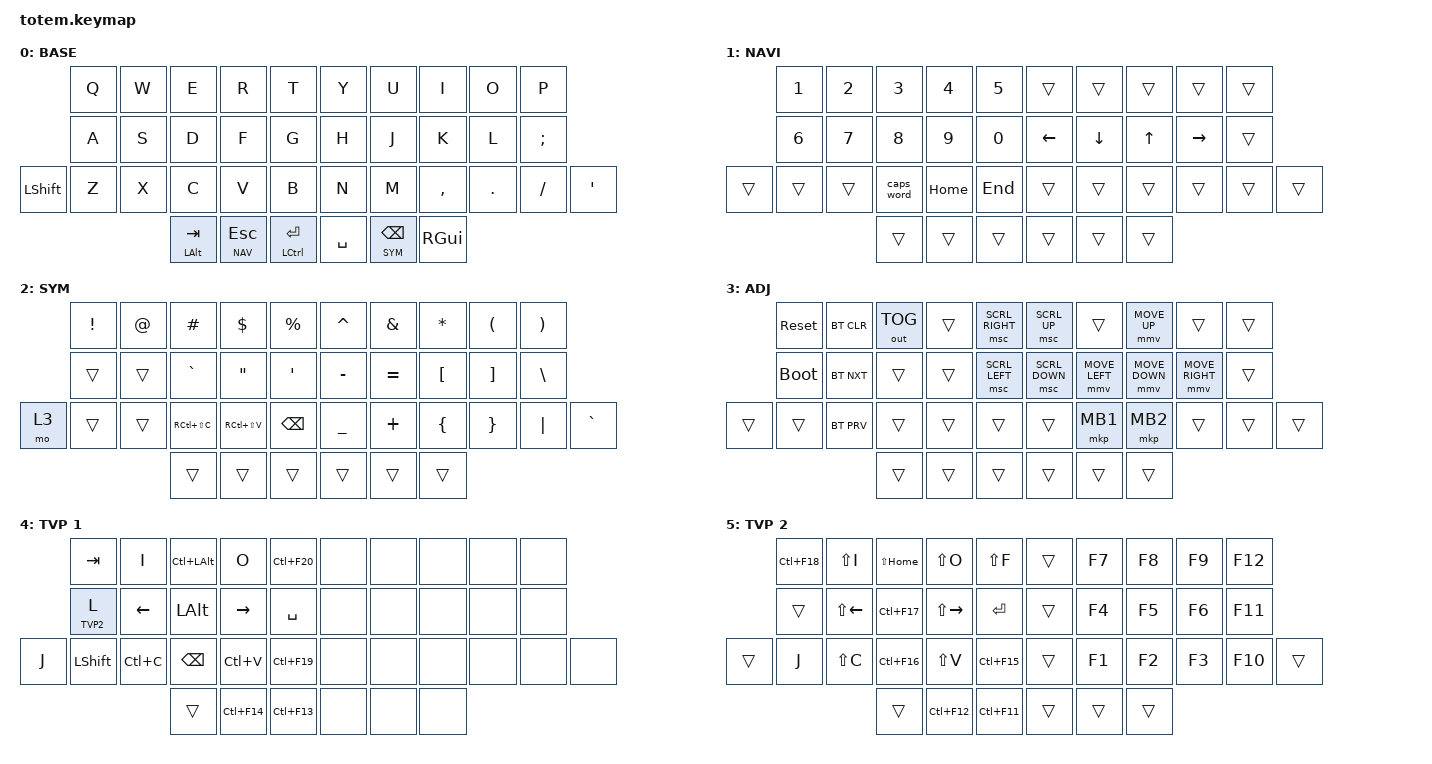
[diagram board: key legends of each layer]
//
//                                                        ▀▀▀▀▀     ▀▀▀▀▀          ▀▀█▀▀
//                                                        ▄▀▀▀▄  ▄  ▄▀▀▀▄  ▄  ▄▀▀▀▄  █  ▄▀▀▀▄
//                                                        █   █  █  █   █  █  █   █  █  █   █
//                                                         ▀▀▀   █   ▀▀▀   █   ▀▀▀   ▀   ▀▀▀
//                                                               █      ▄▄▄█▄▄▄    █   █  
//                                                               ▀      █  █  █     █▄█
//                                                             ▀▀▀▀▀    █  █  █      ▀
//                                                                      ▀  ▀  ▀
//
// ▄▄▄▄▄▄▄▄▄▄▄▄▄▄▄▄▄▄▄▄▄▄▄▄▄▄▄▄▄▄▄▄▄▄▄▄▄▄▄▄▄▄▄▄▄▄▄▄▄▄▄▄▄▄▄▄▄▄▄▄▄▄▄▄▄▄▄▄▄▄▄▄▄▄▄▄▄▄▄▄▄▄▄▄▄▄▄▄▄▄▄▄▄▄▄▄▄▄▄▄▄▄▄▄▄▄▄▄▄▄▄▄▄▄▄▄▄▄▄▄▄▄▄▄▄▄▄▄▄▄▄▄▄▄▄▄▄▄▄▄▄▄▄▄▄▄▄▄▄

#include <behaviors.dtsi>
#include <dt-bindings/zmk/bt.h>
#include <dt-bindings/zmk/keys.h>
#include <dt-bindings/zmk/outputs.h>
#include <dt-bindings/zmk/pointing.h>

#define BASE 0
#define NAV  1
#define SYM  2
#define ADJ  3
#define TVP1 4
#define TVP2 5

&mt {
    quick-tap-ms = <100>;
    global-quick-tap;
    flavor = "tap-preferred";
    tapping-term-ms = <170>;
};

/ {
    combos {
        compatible = "zmk,combos";

        esc {
            timeout-ms = <50>;
            key-positions = <17 16>;
            bindings = <&kp ESC>;
        };

        tab {
            timeout-ms = <100>;
            key-positions = <12 13>;
            bindings = <&kp TAB>;
        };

        enter {
            bindings = <&kp ENTER>;
            key-positions = <13 16>;
            timeout-ms = <100>;
        };

        togglelayer4 {
            bindings = <&tog 4>;
            key-positions = <2 3 4>;
        };

        togglelayer5 {
            bindings = <&tog 5>;
            key-positions = <6 5 7>;
        };

        movetolayer3 {
            bindings = <&mo 3>;
            key-positions = <33 36>;
            slow-release;
            layers = <3>;
        };
    };

    macros {
        gif: gif {
            label = "giphy";
            compatible = "zmk,behavior-macro";
            #binding-cells = <0>;
            bindings =
                <&macro_press>,
                <&kp LSHFT>,
                <&macro_tap>,
                <&kp N2>,
                <&macro_release>,
                <&kp LSHFT>,
                <&macro_tap>,
                <&kp G &kp I &kp F>;
        };
    };

    keymap {
        compatible = "zmk,keymap";

        // ▄▄▄▄▄▄▄▄▄▄▄▄▄▄▄▄▄▄▄▄▄▄▄▄▄▄▄▄▄▄▄▄▄▄▄▄▄▄▄▄▄▄▄▄▄▄▄▄▄▄▄▄▄▄▄▄▄▄▄▄▄▄▄▄▄▄▄▄▄▄▄▄▄▄▄▄▄▄▄▄▄▄▄▄▄▄▄▄▄▄▄▄▄▄▄▄▄▄▄▄▄▄▄▄▄▄▄▄▄▄▄▄▄▄▄▄▄▄▄▄▄▄▄▄▄▄▄▄▄▄▄▄▄▄▄▄▄▄▄▄▄▄▄▄▄▄▄▄▄

        base_layer {
            // ┏━━━━━━━━━━━━━━━━━━━━━━━━━━━━━━━━━━━━━━━┓

            label = "BASE";

            // ┗━━━━━━━━━━━━━━━━━━━━━━━━━━━━━━━━━━━━━━━┛
            //             ┏━━━━━━━━━━━┳━━━━━━━━━━━┳━━━━━━━━━━━┳━━━━━━━━━━━┳━━━━━━━━━━━┓   ┏━━━━━━━━━━━┳━━━━━━━━━━━┳━━━━━━━━━━━┳━━━━━━━━━━━┳━━━━━━━━━━━┓
            //             ┃     Q     ┃     W     ┃     F     ┃     P     ┃     G     ┃   ┃     J     ┃     L     ┃     U     ┃     Y     ┃     ;     ┃
            //             ┣━━━━━━━━━━━╋━━━━━━━━━━━╋━━━━━━━━━━━╋━━━━━━━━━━━╋━━━━━━━━━━━┫   ┣━━━━━━━━━━━╋━━━━━━━━━━━╋━━━━━━━━━━━╋━━━━━━━━━━━╋━━━━━━━━━━━┫
            //             ┃     A     ┃     R     ┃     S     ┃     T     ┃     D     ┃   ┃     H     ┃     N     ┃     E     ┃     I     ┃     O     ┃
            // ┏━━━━━━━━━━━╋━━━━━━━━━━━╋━━━━━━━━━━━╋━━━━━━━━━━━╋━━━━━━━━━━━╋━━━━━━━━━━━┫   ┣━━━━━━━━━━━╋━━━━━━━━━━━╋━━━━━━━━━━━╋━━━━━━━━━━━╋━━━━━━━━━━━╋━━━━━━━━━━━┓
            // ┃     Q     ┃     Z     ┃     X     ┃     C     ┃     V     ┃     B     ┃   ┃     K     ┃     M     ┃     ,     ┃     .     ┃     /     ┃     \     ┃
            // ┗━━━━━━━━━━━┻━━━━━━━━━━━┻━━━━━━━━━━━╋━━━━━━━━━━━╋━━━━━━━━━━━╋━━━━━━━━━━━┫   ┣━━━━━━━━━━━╋━━━━━━━━━━━╋━━━━━━━━━━━╋━━━━━━━━━━━┻━━━━━━━━━━━┻━━━━━━━━━━━┛
            //                                     ┃    DEL    ┃    TAB    ┃    SPC    ┃   ┃   ENTER   ┃           ┃   BSPC    ┃
            //                                     ┗━━━━━━━━━━━┻━━━━━━━━━━━┻━━━━━━━━━━━┛   ┗━━━━━━━━━━━┻━━━━━━━━━━━┻━━━━━━━━━━━┛

            bindings = <
                &kp Q  &kp W  &kp E             &kp R           &kp T              &kp Y      &kp U              &kp I          &kp O    &kp P
                &kp A  &kp S  &kp D             &kp F           &kp G              &kp H      &kp J              &kp K          &kp L    &kp SEMICOLON
&kp LEFT_SHIFT  &kp Z  &kp X  &kp C             &kp V           &kp B              &kp N      &kp M              &kp COMMA      &kp DOT  &kp FSLH       &kp SINGLE_QUOTE
                              &mt LEFT_ALT TAB  &lt NAV ESCAPE  &mt LCTRL ENTER    &kp SPACE  &lt SYM BACKSPACE  &kp RIGHT_GUI
            >;
        };

        // ▄▄▄▄▄▄▄▄▄▄▄▄▄▄▄▄▄▄▄▄▄▄▄▄▄▄▄▄▄▄▄▄▄▄▄▄▄▄▄▄▄▄▄▄▄▄▄▄▄▄▄▄▄▄▄▄▄▄▄▄▄▄▄▄▄▄▄▄▄▄▄▄▄▄▄▄▄▄▄▄▄▄▄▄▄▄▄▄▄▄▄▄▄▄▄▄▄▄▄▄▄▄▄▄▄▄▄▄▄▄▄▄▄▄▄▄▄▄▄▄▄▄▄▄▄▄▄▄▄▄▄▄▄▄▄▄▄▄▄▄▄▄▄▄▄▄▄▄▄

        numandnav {
            // ┏━━━━━━━━━━━━━━━━━━━━━━━━━━━━━━━━━━━━━━━┓

            label = "NAVI";

            // ┗━━━━━━━━━━━━━━━━━━━━━━━━━━━━━━━━━━━━━━━┛
            //             ┏━━━━━━━━━━━┳━━━━━━━━━━━┳━━━━━━━━━━━┳━━━━━━━━━━━┳━━━━━━━━━━━┓   ┏━━━━━━━━━━━┳━━━━━━━━━━━┳━━━━━━━━━━━┳━━━━━━━━━━━┳━━━━━━━━━━━┓
            //             ┃           ┃           ┃     UP    ┃           ┃     {     ┃   ┃     }     ┃     7     ┃     8     ┃     9     ┃     +     ┃
            //             ┣━━━━━━━━━━━╋━━━━━━━━━━━╋━━━━━━━━━━━╋━━━━━━━━━━━╋━━━━━━━━━━━┫   ┣━━━━━━━━━━━╋━━━━━━━━━━━╋━━━━━━━━━━━╋━━━━━━━━━━━╋━━━━━━━━━━━┫
            //             ┃   SHIFT   ┃   LEFT    ┃    DOWN   ┃   RIGHT   ┃     [     ┃   ┃     ]     ┃     4     ┃     5     ┃     6     ┃     -     ┃
            // ┏━━━━━━━━━━━╋━━━━━━━━━━━╋━━━━━━━━━━━╋━━━━━━━━━━━╋━━━━━━━━━━━╋━━━━━━━━━━━┫   ┣━━━━━━━━━━━╋━━━━━━━━━━━╋━━━━━━━━━━━╋━━━━━━━━━━━╋━━━━━━━━━━━╋━━━━━━━━━━━┓
            // ┃           ┃           ┃   P UP    ┃  C LOCK   ┃  P DOWN   ┃     (     ┃   ┃     )     ┃     1     ┃     2     ┃     3     ┃     *     ┃           ┃
            // ┗━━━━━━━━━━━┻━━━━━━━━━━━┻━━━━━━━━━━━╋━━━━━━━━━━━╋━━━━━━━━━━━╋━━━━━━━━━━━┫   ┣━━━━━━━━━━━╋━━━━━━━━━━━╋━━━━━━━━━━━╋━━━━━━━━━━━┻━━━━━━━━━━━┻━━━━━━━━━━━┛
            //                                     ┃           ┃    TAB    ┃    SPC    ┃   ┃    DEL    ┃     0     ┃           ┃
            //                                     ┗━━━━━━━━━━━┻━━━━━━━━━━━┻━━━━━━━━━━━┛   ┗━━━━━━━━━━━┻━━━━━━━━━━━┻━━━━━━━━━━━┛

            bindings = <
        &kp NUMBER_1  &kp NUMBER_2  &kp NUMBER_3  &kp NUMBER_4  &kp NUMBER_5    &trans    &trans    &trans  &trans     &trans
        &kp NUMBER_6  &kp NUMBER_7  &kp NUMBER_8  &kp NUMBER_9  &kp NUMBER_0    &kp LEFT  &kp DOWN  &kp UP  &kp RIGHT  &trans
&trans  &trans        &trans        &caps_word    &kp HOME      &kp END         &trans    &trans    &trans  &trans     &trans  &trans
                                    &trans        &trans        &trans          &trans    &trans    &trans
            >;
        };

        // ▄▄▄▄▄▄▄▄▄▄▄▄▄▄▄▄▄▄▄▄▄▄▄▄▄▄▄▄▄▄▄▄▄▄▄▄▄▄▄▄▄▄▄▄▄▄▄▄▄▄▄▄▄▄▄▄▄▄▄▄▄▄▄▄▄▄▄▄▄▄▄▄▄▄▄▄▄▄▄▄▄▄▄▄▄▄▄▄▄▄▄▄▄▄▄▄▄▄▄▄▄▄▄▄▄▄▄▄▄▄▄▄▄▄▄▄▄▄▄▄▄▄▄▄▄▄▄▄▄▄▄▄▄▄▄▄▄▄▄▄▄▄▄▄▄▄▄▄▄

        characters {
            // ┏━━━━━━━━━━━━━━━━━━━━━━━━━━━━━━━━━━━━━━━┓

            label = "SYM";

            // ┗━━━━━━━━━━━━━━━━━━━━━━━━━━━━━━━━━━━━━━━┛
            //             ┏━━━━━━━━━━━┳━━━━━━━━━━━┳━━━━━━━━━━━┳━━━━━━━━━━━┳━━━━━━━━━━━┓   ┏━━━━━━━━━━━┳━━━━━━━━━━━┳━━━━━━━━━━━┳━━━━━━━━━━━┳━━━━━━━━━━━┓
            //             ┃     !     ┃     @     ┃     #     ┃     $     ┃     %     ┃   ┃     ˆ     ┃     &     ┃     Ü     ┃     '     ┃     "     ┃
            //             ┣━━━━━━━━━━━╋━━━━━━━━━━━╋━━━━━━━━━━━╋━━━━━━━━━━━╋━━━━━━━━━━━┫   ┣━━━━━━━━━━━╋━━━━━━━━━━━╋━━━━━━━━━━━╋━━━━━━━━━━━╋━━━━━━━━━━━┫
            //             ┃     Ä     ┃           ┃    SZ     ┃           ┃           ┃   ┃   MUTE    ┃   YEN     ┃   EURO    ┃  POUND    ┃     Ö     ┃
            // ┏━━━━━━━━━━━╋━━━━━━━━━━━╋━━━━━━━━━━━╋━━━━━━━━━━━╋━━━━━━━━━━━╋━━━━━━━━━━━┫   ┣━━━━━━━━━━━╋━━━━━━━━━━━╋━━━━━━━━━━━╋━━━━━━━━━━━╋━━━━━━━━━━━╋━━━━━━━━━━━┓
            // ┃           ┃  EMAIL1   ┃  EMAIL2   ┃           ┃           ┃           ┃   ┃   VOL-    ┃   VOL+    ┃   LAST    ┃   NEXT    ┃     \     ┃           ┃
            // ┗━━━━━━━━━━━┻━━━━━━━━━━━┻━━━━━━━━━━━╋━━━━━━━━━━━╋━━━━━━━━━━━╋━━━━━━━━━━━┫   ┣━━━━━━━━━━━╋━━━━━━━━━━━╋━━━━━━━━━━━╋━━━━━━━━━━━┻━━━━━━━━━━━┻━━━━━━━━━━━┛
            //                                     ┃           ┃    GIF    ┃    ADJ    ┃   ┃           ┃           ┃           ┃
            //                                     ┗━━━━━━━━━━━┻━━━━━━━━━━━┻━━━━━━━━━━━┛   ┗━━━━━━━━━━━┻━━━━━━━━━━━┻━━━━━━━━━━━┛

            bindings = <
       &kp EXCL  &kp AT  &kp HASH       &kp DLLR           &kp PRCNT           &kp CARET       &kp AMPS   &kp ASTERISK      &kp LEFT_PARENTHESIS  &kp RIGHT_PARENTHESIS
       &trans    &trans  &kp GRAVE      &kp DOUBLE_QUOTES  &kp SINGLE_QUOTE    &kp MINUS       &kp EQUAL  &kp LEFT_BRACKET  &kp RIGHT_BRACKET     &kp BACKSLASH
&mo 3  &trans    &trans  &kp RC(LS(C))  &kp RC(LS(V))      &kp BACKSPACE       &kp UNDERSCORE  &kp PLUS   &kp LEFT_BRACE    &kp RIGHT_BRACE       &kp PIPE               &kp GRAVE
                         &trans         &trans             &trans              &trans          &trans     &trans
            >;
        };

        // ▄▄▄▄▄▄▄▄▄▄▄▄▄▄▄▄▄▄▄▄▄▄▄▄▄▄▄▄▄▄▄▄▄▄▄▄▄▄▄▄▄▄▄▄▄▄▄▄▄▄▄▄▄▄▄▄▄▄▄▄▄▄▄▄▄▄▄▄▄▄▄▄▄▄▄▄▄▄▄▄▄▄▄▄▄▄▄▄▄▄▄▄▄▄▄▄▄▄▄▄▄▄▄▄▄▄▄▄▄▄▄▄▄▄▄▄▄▄▄▄▄▄▄▄▄▄▄▄▄▄▄▄▄▄▄▄▄▄▄▄▄▄▄▄▄▄▄▄▄

        mouseandbluetooth {
            // ┏━━━━━━━━━━━━━━━━━━━━━━━━━━━━━━━━━━━━━━━┓

            label = "ADJ";

            // ┗━━━━━━━━━━━━━━━━━━━━━━━━━━━━━━━━━━━━━━━┛
            //             ┏━━━━━━━━━━━┳━━━━━━━━━━━┳━━━━━━━━━━━┳━━━━━━━━━━━┳━━━━━━━━━━━┓   ┏━━━━━━━━━━━┳━━━━━━━━━━━┳━━━━━━━━━━━┳━━━━━━━━━━━┳━━━━━━━━━━━┓
            //             ┃   RESET   ┃ BT CLEAR  ┃  OUT TOG  ┃           ┃           ┃   ┃           ┃    F7     ┃    F8     ┃    F9     ┃    F12    ┃
            //             ┣━━━━━━━━━━━╋━━━━━━━━━━━╋━━━━━━━━━━━╋━━━━━━━━━━━╋━━━━━━━━━━━┫   ┣━━━━━━━━━━━╋━━━━━━━━━━━╋━━━━━━━━━━━╋━━━━━━━━━━━╋━━━━━━━━━━━┫
            //             ┃ BOOTLOAD  ┃ BT NEXT   ┃           ┃           ┃           ┃   ┃           ┃    F4     ┃    F5     ┃    F6     ┃    F11    ┃
            // ┏━━━━━━━━━━━╋━━━━━━━━━━━╋━━━━━━━━━━━╋━━━━━━━━━━━╋━━━━━━━━━━━╋━━━━━━━━━━━┫   ┣━━━━━━━━━━━╋━━━━━━━━━━━╋━━━━━━━━━━━╋━━━━━━━━━━━╋━━━━━━━━━━━╋━━━━━━━━━━━┓
            // ┃           ┃           ┃ BT PREV   ┃           ┃           ┃           ┃   ┃           ┃    F1     ┃    F2     ┃    F3     ┃    F10    ┃           ┃
            // ┗━━━━━━━━━━━┻━━━━━━━━━━━┻━━━━━━━━━━━╋━━━━━━━━━━━╋━━━━━━━━━━━╋━━━━━━━━━━━┫   ┣━━━━━━━━━━━╋━━━━━━━━━━━╋━━━━━━━━━━━╋━━━━━━━━━━━┻━━━━━━━━━━━┻━━━━━━━━━━━┛
            //                                     ┃           ┃           ┃           ┃   ┃           ┃           ┃           ┃
            //                                     ┗━━━━━━━━━━━┻━━━━━━━━━━━┻━━━━━━━━━━━┛   ┗━━━━━━━━━━━┻━━━━━━━━━━━┻━━━━━━━━━━━┛

            bindings = <
        &sys_reset   &bt BT_CLR  &out OUT_TOG  &trans  &msc SCRL_RIGHT    &msc SCRL_UP    &trans          &mmv MOVE_UP    &trans           &trans
        &bootloader  &bt BT_NXT  &trans        &trans  &msc SCRL_LEFT     &msc SCRL_DOWN  &mmv MOVE_LEFT  &mmv MOVE_DOWN  &mmv MOVE_RIGHT  &trans
&trans  &trans       &bt BT_PRV  &trans        &trans  &trans             &trans          &mkp MB1        &mkp MB2        &trans           &trans  &trans
                                 &trans        &trans  &trans             &trans          &trans          &trans
            >;
        };

        // ▄▄▄▄▄▄▄▄▄▄▄▄▄▄▄▄▄▄▄▄▄▄▄▄▄▄▄▄▄▄▄▄▄▄▄▄▄▄▄▄▄▄▄▄▄▄▄▄▄▄▄▄▄▄▄▄▄▄▄▄▄▄▄▄▄▄▄▄▄▄▄▄▄▄▄▄▄▄▄▄▄▄▄▄▄▄▄▄▄▄▄▄▄▄▄▄▄▄▄▄▄▄▄▄▄▄▄▄▄▄▄▄▄▄▄▄▄▄▄▄▄▄▄▄▄▄▄▄▄▄▄▄▄▄▄▄▄▄▄▄▄▄▄▄▄▄▄▄▄

        tvp1_layer {
            // ┏━━━━━━━━━━━━━━━━━━━━━━━━━━━━━━━━━━━━━━━┓

            label = "TVP 1";

            // ┗━━━━━━━━━━━━━━━━━━━━━━━━━━━━━━━━━━━━━━━┛
            //             ┏━━━━━━━━━━━┳━━━━━━━━━━━┳━━━━━━━━━━━┳━━━━━━━━━━━┳━━━━━━━━━━━┓   ┏━━━━━━━━━━━┳━━━━━━━━━━━┳━━━━━━━━━━━┳━━━━━━━━━━━┳━━━━━━━━━━━┓
            //             ┃ NEXT FILE ┃ MARK IN   ┃ ROTATE    ┃ MARK OUT  ┃ SHOW SNAP ┃   ┃           ┃           ┃           ┃           ┃           ┃
            //             ┣━━━━━━━━━━━╋━━━━━━━━━━━╋━━━━━━━━━━━╋━━━━━━━━━━━╋━━━━━━━━━━━┫   ┣━━━━━━━━━━━╋━━━━━━━━━━━╋━━━━━━━━━━━╋━━━━━━━━━━━╋━━━━━━━━━━━┫
            //             ┃ TVP II    ┃ LEFT      ┃ PAN       ┃ RIGHT     ┃ PLAY/FLIP ┃   ┃           ┃           ┃           ┃           ┃           ┃
            // ┏━━━━━━━━━━━╋━━━━━━━━━━━╋━━━━━━━━━━━╋━━━━━━━━━━━╋━━━━━━━━━━━╋━━━━━━━━━━━┫   ┣━━━━━━━━━━━╋━━━━━━━━━━━╋━━━━━━━━━━━╋━━━━━━━━━━━╋━━━━━━━━━━━╋━━━━━━━━━━━┓
            // ┃ FULLSCR   ┃ SHIFT     ┃ COPY      ┃ DELETE    ┃ PASTE     ┃ IMG MARK  ┃   ┃           ┃           ┃           ┃           ┃           ┃           ┃
            // ┗━━━━━━━━━━━┻━━━━━━━━━━━┻━━━━━━━━━━━╋━━━━━━━━━━━╋━━━━━━━━━━━╋━━━━━━━━━━━┫   ┣━━━━━━━━━━━╋━━━━━━━━━━━╋━━━━━━━━━━━╋━━━━━━━━━━━┻━━━━━━━━━━━┻━━━━━━━━━━━┛
            //                                     ┃           ┃ UNDO/SAVE ┃  SEL/MOV  ┃   ┃           ┃           ┃           ┃
            //                                     ┗━━━━━━━━━━━┻━━━━━━━━━━━┻━━━━━━━━━━━┛   ┗━━━━━━━━━━━┻━━━━━━━━━━━┻━━━━━━━━━━━┛

            bindings = <
       &kp TAB     &kp I      &kp LC(LALT)  &kp O        &kp LC(F20)    &none  &none  &none  &none  &none
       &lt TVP2 L  &kp LEFT   &kp LALT      &kp RIGHT    &kp SPACE      &none  &none  &none  &none  &none
&kp J  &kp LSHFT   &kp LC(C)  &kp BSPC      &kp LC(V)    &kp LC(F19)    &none  &none  &none  &none  &none  &none
                              &trans        &kp LC(F14)  &kp LC(F13)    &none  &none  &none
            >;
        };

        // ▄▄▄▄▄▄▄▄▄▄▄▄▄▄▄▄▄▄▄▄▄▄▄▄▄▄▄▄▄▄▄▄▄▄▄▄▄▄▄▄▄▄▄▄▄▄▄▄▄▄▄▄▄▄▄▄▄▄▄▄▄▄▄▄▄▄▄▄▄▄▄▄▄▄▄▄▄▄▄▄▄▄▄▄▄▄▄▄▄▄▄▄▄▄▄▄▄▄▄▄▄▄▄▄▄▄▄▄▄▄▄▄▄▄▄▄▄▄▄▄▄▄▄▄▄▄▄▄▄▄▄▄▄▄▄▄▄▄▄▄▄▄▄▄▄▄▄▄▄

        tvp2_layer {
            // ┏━━━━━━━━━━━━━━━━━━━━━━━━━━━━━━━━━━━━━━━┓

            label = "TVP 2";

            // ┗━━━━━━━━━━━━━━━━━━━━━━━━━━━━━━━━━━━━━━━┛
            //             ┏━━━━━━━━━━━┳━━━━━━━━━━━┳━━━━━━━━━━━┳━━━━━━━━━━━┳━━━━━━━━━━━┓   ┏━━━━━━━━━━━┳━━━━━━━━━━━┳━━━━━━━━━━━┳━━━━━━━━━━━┳━━━━━━━━━━━┓
            //             ┃ SOLO      ┃ TOGGLE IN ┃ RESET ROT ┃ TOGGLE OUT┃ TAKE SNAP ┃   ┃           ┃           ┃           ┃           ┃           ┃
            //             ┣━━━━━━━━━━━╋━━━━━━━━━━━╋━━━━━━━━━━━╋━━━━━━━━━━━╋━━━━━━━━━━━┫   ┣━━━━━━━━━━━╋━━━━━━━━━━━╋━━━━━━━━━━━╋━━━━━━━━━━━╋━━━━━━━━━━━┫
            //             ┃ ---       ┃ LAST KEY  ┃ NEW KEY   ┃ NEXT KEY  ┃ ENTER     ┃   ┃           ┃           ┃           ┃           ┃           ┃
            // ┏━━━━━━━━━━━╋━━━━━━━━━━━╋━━━━━━━━━━━╋━━━━━━━━━━━╋━━━━━━━━━━━╋━━━━━━━━━━━┫   ┣━━━━━━━━━━━╋━━━━━━━━━━━╋━━━━━━━━━━━╋━━━━━━━━━━━╋━━━━━━━━━━━╋━━━━━━━━━━━┓
            // ┃           ┃ FULLSCR   ┃ CPY2BRUSH ┃ DEL HEAD  ┃ PSTinPLACE┃ BOOK MARK ┃   ┃           ┃           ┃           ┃           ┃           ┃           ┃
            // ┗━━━━━━━━━━━┻━━━━━━━━━━━┻━━━━━━━━━━━╋━━━━━━━━━━━╋━━━━━━━━━━━╋━━━━━━━━━━━┫   ┣━━━━━━━━━━━╋━━━━━━━━━━━╋━━━━━━━━━━━╋━━━━━━━━━━━┻━━━━━━━━━━━┻━━━━━━━━━━━┛
            //                                     ┃           ┃ REDO/SAV1 ┃TRANS/WARP ┃   ┃           ┃           ┃           ┃
            //                                     ┗━━━━━━━━━━━┻━━━━━━━━━━━┻━━━━━━━━━━━┛   ┗━━━━━━━━━━━┻━━━━━━━━━━━┻━━━━━━━━━━━┛

            bindings = <
        &kp LC(F18)  &kp LS(I)     &kp LS(HOME)  &kp LS(O)      &kp LS(F)      &trans  &kp F7  &kp F8  &kp F9  &kp F12
        &trans       &kp LS(LEFT)  &kp LC(F17)   &kp LS(RIGHT)  &kp RET        &trans  &kp F4  &kp F5  &kp F6  &kp F11
&trans  &kp J        &kp LS(C)     &kp LC(F16)   &kp LS(V)      &kp LC(F15)    &trans  &kp F1  &kp F2  &kp F3  &kp F10  &trans
                                   &trans        &kp LC(F12)    &kp LC(F11)    &trans  &trans  &trans
            >;
        };
    };
};
